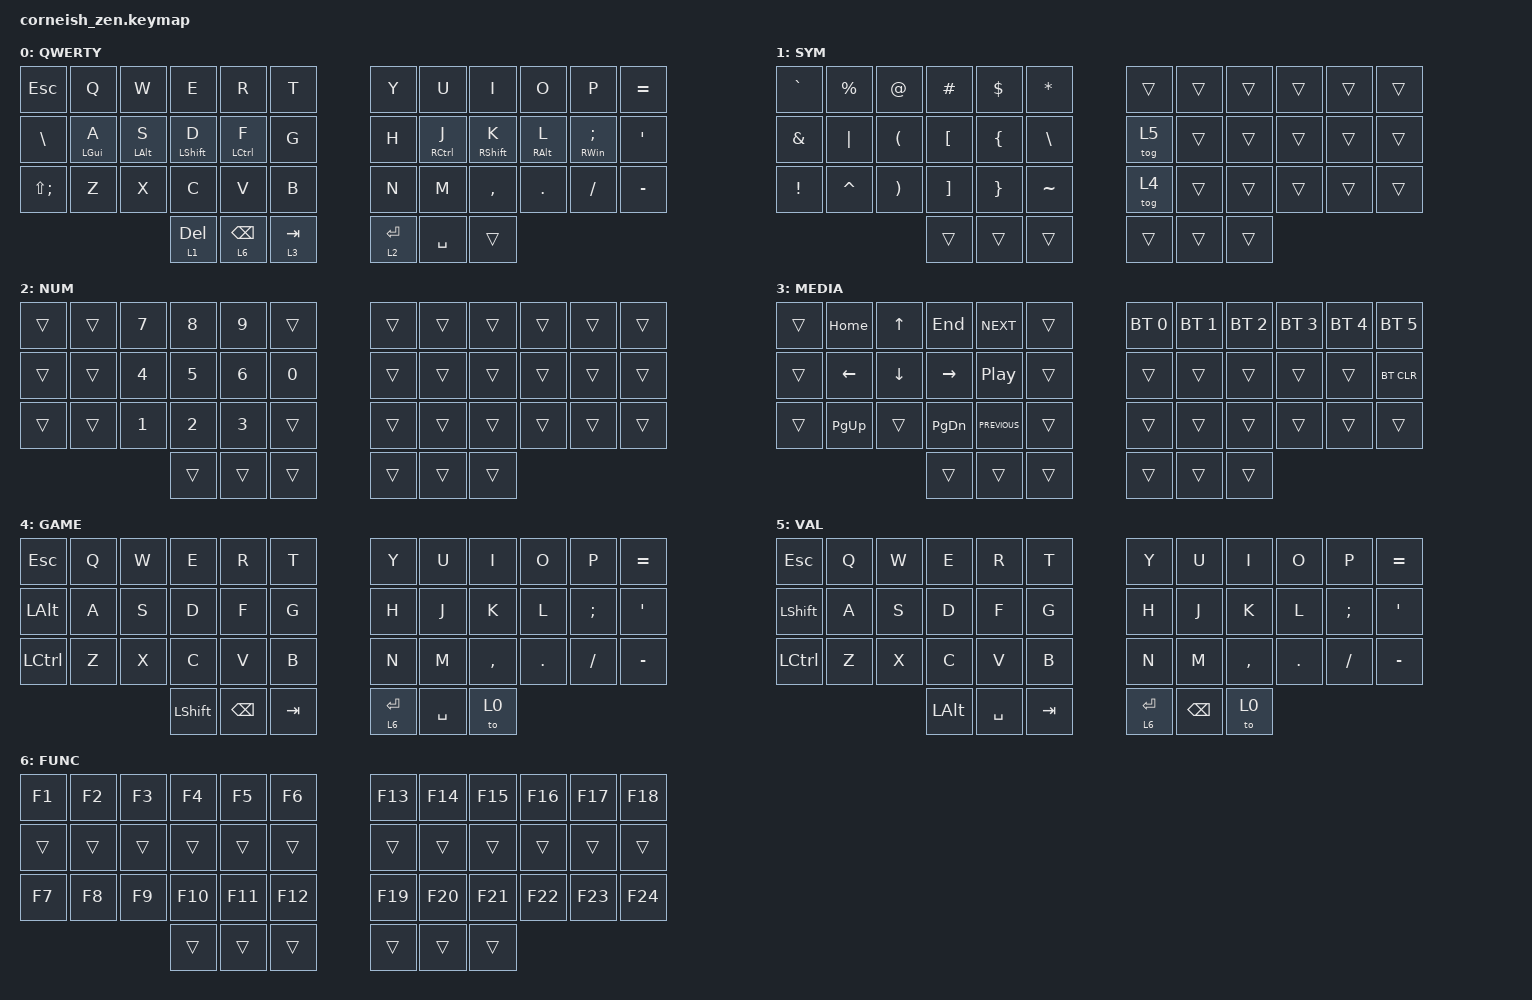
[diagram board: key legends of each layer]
/*
*
* Copyright (c) 2021 Darryl deHaan
* SPDX-License-Identifier: MIT
*
*/

#include <behaviors.dtsi>
#include <dt-bindings/zmk/keys.h>
#include <dt-bindings/zmk/bt.h>

/ {
  chosen {
    zmk,matrix_transform = &default_transform;

    //zmk,matrix_transform = &five_column_transform;
  };
};

/ {
        behaviors {
                hm: homerow_mods {
                compatible = "zmk,behavior-hold-tap";
                label = "HOMEROW_MODS";
                #binding-cells = <2>;
                tapping-term-ms = <200>;
                quick-tap-ms = <125>;
                flavor = "tap-preferred";
                bindings = <&kp>, <&kp>;
                };
                lth: layer_tap_hold {
                compatible = "zmk,behavior-hold-tap";
                label = "LAYER_TAP_HOLD";
                #binding-cells = <2>;
                tapping-term-ms = <200>;
                quick-tap-ms = <200>;
                flavor = "tap-preferred";
                bindings = <&mo>, <&kp>;
                };
        };
        keymap {
                compatible = "zmk,keymap";

                default_layer {
                        label = "QWERTY";
// -----------------------------------------------------------------------------------------
// |  TAB |  Q  |  W  |  E  |  R  |  T  |   |  Y  |  U   |  I  |  O  |  P  | = |
// | \ |  A  |  S  |  D  |  F  |  G  |   |  H  |  J   |  K  |  L  |  ;  |  '   |
// | : |  Z  |  X  |  C  |  V  |  B  |   |  N  |  M   |  ,  |  .  |  /  | -  |
//                    | DEL | BKSP | TAB |   | ENT | SPACE  | UNSTICK |
                        bindings = <
   &kp ESCAPE   &kp Q &kp W &kp E &kp R &kp T   &kp Y &kp U  &kp I     &kp O   &kp P    &kp EQUAL
   &kp BACKSLASH &hm LEFT_GUI A &hm LEFT_ALT S &hm LEFT_SHIFT D &hm LEFT_CONTROL F &kp G   &kp H &hm RIGHT_CONTROL J  &hm RIGHT_SHIFT K     &hm RIGHT_ALT L   &hm RIGHT_WIN SEMI &kp SINGLE_QUOTE
   &kp LS(SEMICOLON) &kp Z &kp X &kp C &kp V &kp B   &kp N &kp M  &kp COMMA &kp DOT &kp FSLH &kp MINUS
                  &lth 1 DELETE &lth 6 BACKSPACE &lth 3 TAB   &lth 2 ENTER &kp SPACE &trans
                        >;
                };
                symbol_layer {
                        label = "SYM";
// -----------------------------------------------------------------------------------------
// |  TAB |  1  |  2  |  3  |  4  |  5  |   |  6  |  7  |  8  |  9  |  0  | BKSP |
// | BTCLR| BT1 | BT2 | BT3 | BT4 | BT5 |   | LFT | DWN |  UP | RGT |     |      |
// | SHFT |     |     |     |     |     |   |     |     |     |     |     |      |
//                    | GUI |     | SPC |   | ENT |     | ALT |
                        bindings = <
   &kp GRAVE &kp PERCENT &kp AT_SIGN &kp HASH &kp DOLLAR &kp ASTERISK                          &trans &trans &trans &trans &trans &trans
   &kp AMPERSAND &kp PIPE &kp LEFT_PARENTHESIS &kp LEFT_BRACKET &kp LEFT_BRACE &kp BACKSLASH   &tog 5 &trans &trans &trans &trans &trans
   &kp EXCLAMATION &kp CARET &kp RIGHT_PARENTHESIS &kp RIGHT_BRACKET &kp RIGHT_BRACE &kp TILDE &tog 4 &trans &trans &trans &trans &trans
                        &trans &trans &trans   &trans &trans &trans
                        >;
                };

                numpad_layer {
                        label = "NUM";
// -----------------------------------------------------------------------------------------
// |  TAB |  !  |  @  |  #  |  $  |  %  |   |  ^  |  &  |  *  |  (  |  )  | BKSP |
// | CTRL |     |     |     |     |     |   |  -  |  =  |  [  |  ]  |  \  |  `   |
// | SHFT |     |     |     |     |     |   |  _  |  +  |  {  |  }  | "|" |  ~   |
//                    | GUI |     | SPC |   | ENT |     | ALT |
                        bindings = <
   &trans &trans &kp NUMBER_7 &kp NUMBER_8 &kp NUMBER_9 &trans   &trans &trans &trans &trans &trans &trans
   &trans &trans &kp NUMBER_4 &kp NUMBER_5 &kp NUMBER_6 &kp NUMBER_0   &trans &trans &trans &trans &trans &trans
   &trans &trans &kp NUMBER_1 &kp NUMBER_2 &kp NUMBER_3 &trans   &trans &trans &trans &trans &trans &trans
                    	&trans &trans &trans   &trans &trans &trans
                        >;
                };
                media_layer {
                        label = "MEDIA";
// -----------------------------------------------------------------------------------------
// |  TAB |  !  |  @  |  #  |  $  |  %  |   |  ^  |  &  |  *  |  (  |  )  | BKSP |
// | CTRL |     |     |     |     |     |   |  -  |  =  |  [  |  ]  |  \  |  `   |
// | SHFT |     |     |     |     |     |   |  _  |  +  |  {  |  }  | "|" |  ~   |
//                    | GUI |     | SPC |   | ENT |     | ALT |
                        bindings = <
   &trans &kp HOME &kp UP_ARROW &kp  END                &kp C_NEXT       &trans   &bt BT_SEL 0 &bt BT_SEL 1 &bt BT_SEL 2 &bt BT_SEL 3 &bt BT_SEL 4 &bt BT_SEL 5
   &trans &kp LEFT_ARROW &kp DOWN_ARROW &kp RIGHT_ARROW &kp C_PLAY_PAUSE &trans   &trans &trans &trans &trans &trans &bt BT_CLR
   &trans &kp PG_UP &trans &kp PG_DN                    &kp C_PREVIOUS   &trans   &trans &trans &trans &trans &trans &trans
                    	&trans &trans &trans   &trans &trans &trans
                        >;
                };
                games_layer {
                        label = "GAME";
// -----------------------------------------------------------------------------------------
// |  TAB |  !  |  @  |  #  |  $  |  %  |   |  ^  |  &  |  *  |  (  |  )  | BKSP |
// | CTRL |     |     |     |     |     |   |  -  |  =  |  [  |  ]  |  \  |  `   |
// | SHFT |     |     |     |     |     |   |  _  |  +  |  {  |  }  | "|" |  ~   |
//                    | GUI |     | SPC |   | ENT |     | ALT |
                        bindings = <
   &kp ESCAPE   &kp Q &kp W &kp E &kp R &kp T   &kp Y &kp U  &kp I     &kp O   &kp P    &kp EQUAL
   &kp LEFT_ALT &kp A &kp S &kp D &kp F &kp G   &kp H &kp J &kp K &kp L &kp SEMICOLON &kp SINGLE_QUOTE
   &kp LEFT_CONTROL &kp Z &kp X &kp C &kp V &kp B   &kp N &kp M  &kp COMMA &kp DOT &kp FSLH &kp MINUS
                    	&kp LEFT_SHIFT &kp BSPC &kp TAB   &lt 6 ENTER &kp SPACE &to 0
                        >;
                };
                val_layer {
                        label = "VAL";
// -----------------------------------------------------------------------------------------
// |  TAB |  !  |  @  |  #  |  $  |  %  |   |  ^  |  &  |  *  |  (  |  )  | BKSP |
// | CTRL |     |     |     |     |     |   |  -  |  =  |  [  |  ]  |  \  |  `   |
// | SHFT |     |     |     |     |     |   |  _  |  +  |  {  |  }  | "|" |  ~   |
//                    | GUI |     | SPC |   | ENT |     | ALT |
                        bindings = <
   &kp ESCAPE   &kp Q &kp W &kp E &kp R &kp T   &kp Y &kp U  &kp I     &kp O   &kp P    &kp EQUAL
   &kp LEFT_SHIFT &kp A &kp S &kp D &kp F &kp G   &kp H &kp J &kp K &kp L &kp SEMICOLON &kp SINGLE_QUOTE
   &kp LEFT_CONTROL &kp Z &kp X &kp C &kp V &kp B   &kp N &kp M  &kp COMMA &kp DOT &kp FSLH &kp MINUS
                    	&kp LEFT_ALT &kp SPACE &kp TAB   &lt 6 ENTER &kp BACKSPACE &to 0
                        >;
                };
                func_layer {
                        label = "FUNC";
// -----------------------------------------------------------------------------------------
// |  TAB |  !  |  @  |  #  |  $  |  %  |   |  ^  |  &  |  *  |  (  |  )  | BKSP |
// | CTRL |     |     |     |     |     |   |  -  |  =  |  [  |  ]  |  \  |  `   |
// | SHFT |     |     |     |     |     |   |  _  |  +  |  {  |  }  | "|" |  ~   |
//                    | GUI |     | SPC |   | ENT |     | ALT |
                        bindings = <
   &kp F1 &kp F2 &kp F3 &kp F4  &kp F5  &kp F6    &kp F13 &kp F14 &kp F15 &kp F16 &kp F17 &kp F18
   &trans &trans &trans &trans  &trans  &trans    &trans &trans &trans &trans &trans &trans
   &kp F7 &kp F8 &kp F9 &kp F10 &kp F11 &kp F12   &kp F19 &kp F20 &kp F21 &kp F22 &kp F23 &kp F24
                    	&trans &trans &trans   &trans &trans &trans
                        >;
                };
        };
};
